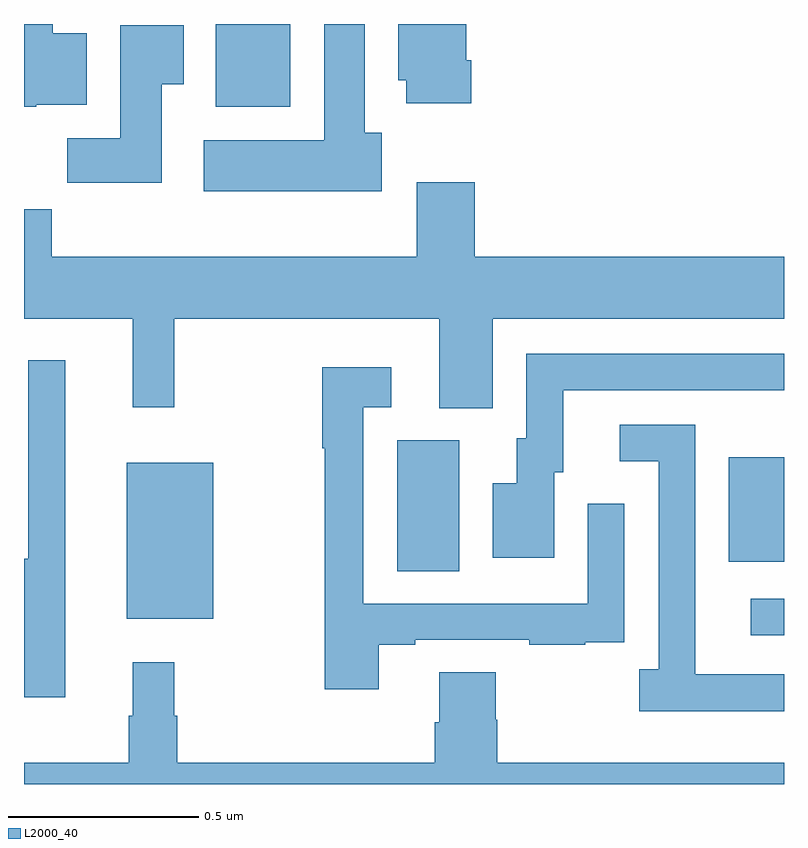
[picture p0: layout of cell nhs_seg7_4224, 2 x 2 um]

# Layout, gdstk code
import gdstk
lib = gdstk.Library(unit=1e-6, precision=1e-09)
def R(c, l, rs):  # rectangles x0, y0, x1, y1
    for r in rs: c.add(gdstk.rectangle(r[:2], r[2:], *l))
def P(c, l, *ps):  # polygons
    for p in ps: c.add(gdstk.Polygon(p, *l))
L2000_40 = (2000, 40)

nhs_seg7_4224 = lib.new_cell('nhs_seg7_4224')
R(nhs_seg7_4224, L2000_40, [(170.913,1058.391,171,1058.487), (169.271,1058.435,169.498,1058.845), (169.982,1058.56,170.146,1058.904), (170.855,1058.585,171,1058.86), (169.505,1059.782,169.701,1060)])
P(nhs_seg7_4224, L2000_40, [(169.032,1059.788),(169.165,1059.788),(169.165,1059.976),(169.075,1059.976),(169.075,1060),(169,1060),(169,1059.782),(169.032,1059.782)],
  [(169.942,1059.714),(169.897,1059.714),(169.897,1060),(169.79,1060),(169.79,1059.694),(169.473,1059.694),(169.473,1059.56),(169.942,1059.56)],
  [(170.177,1059.904),(170.164,1059.904),(170.164,1060),(169.985,1060),(169.985,1059.852),(170.006,1059.852),(170.006,1059.792),(170.177,1059.792)],
  [(169.363,1059.841),(169.42,1059.841),(169.42,1059.997),(169.253,1059.997),(169.253,1059.7),(169.114,1059.7),(169.114,1059.582),(169.363,1059.582)],
  [(170.093,1058.989),(170.233,1058.989),(170.233,1059.224),(171,1059.224),(171,1059.388),(170.186,1059.388),(170.186,1059.583),(170.033,1059.583),(170.033,1059.388),(169.073,1059.388),(169.073,1059.512),(169,1059.512),(169,1059.224),(169.286,1059.224),(169.286,1058.991),(169.396,1058.991),(169.396,1059.224),(170.093,1059.224)],
  [(170.395,1058.82),(170.419,1058.82),(170.419,1059.036),(171,1059.036),(171,1059.132),(170.322,1059.132),(170.322,1058.91),(170.297,1058.91),(170.297,1058.791),(170.234,1058.791),(170.234,1058.595),(170.395,1058.595)],
  [(169.108,1059.115),(169.011,1059.115),(169.011,1058.593),(169,1058.593),(169,1058.228),(169.108,1058.228)],
  [(169.933,1058.367),(170.029,1058.367),(170.029,1058.379),(170.329,1058.379),(170.329,1058.367),(170.477,1058.367),(170.477,1058.373),(170.579,1058.373),(170.579,1058.482),(170.58,1058.482),(170.58,1058.737),(170.484,1058.737),(170.484,1058.475),(169.893,1058.475),(169.893,1058.991),(169.966,1058.991),(169.966,1059.097),(169.785,1059.097),(169.785,1058.884),(169.792,1058.884),(169.792,1058.25),(169.933,1058.25)],
  [(171,1058.289),(170.767,1058.289),(170.767,1058.489),(170.766,1058.489),(170.766,1058.946),(170.568,1058.946),(170.568,1058.85),(170.67,1058.85),(170.67,1058.302),(170.619,1058.302),(170.619,1058.192),(171,1058.192)],
  [(171,1058.056),(170.246,1058.056),(170.246,1058.169),(170.241,1058.169),(170.241,1058.294),(170.093,1058.294),(170.093,1058.162),(170.081,1058.162),(170.081,1058.056),(169.403,1058.056),(169.403,1058.18),(169.396,1058.18),(169.396,1058.32),(169.286,1058.32),(169.286,1058.18),(169.275,1058.18),(169.275,1058.056),(169,1058.056),(169,1058),(171,1058)])

lib.write_gds('nhs_seg7_4224.gds')
